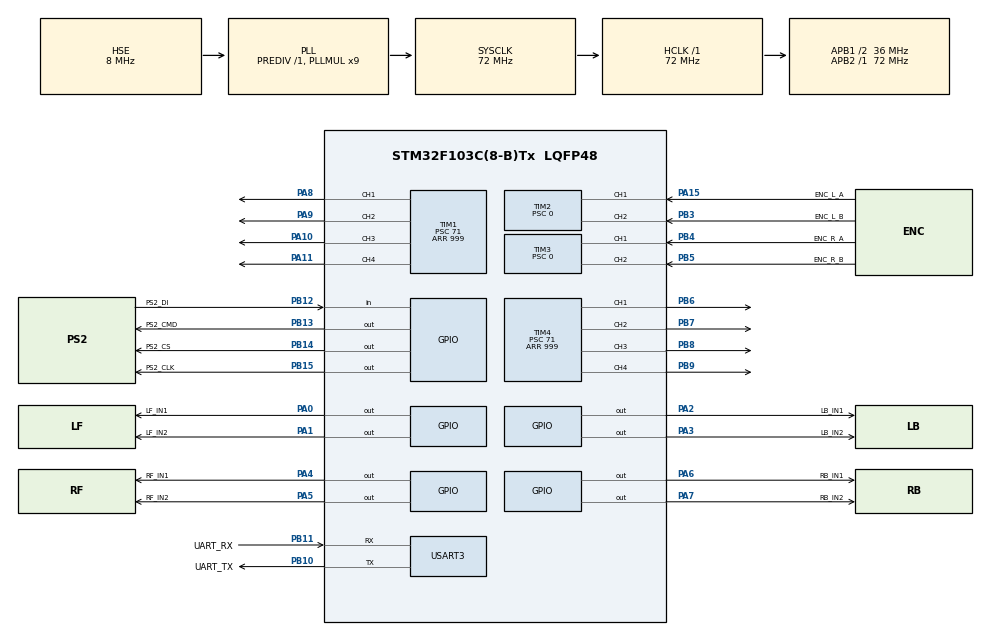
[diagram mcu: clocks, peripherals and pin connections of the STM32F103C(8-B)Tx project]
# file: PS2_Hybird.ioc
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Mcu.Family=STM32F1
Mcu.Name=STM32F103C(8-B)Tx
Mcu.Package=LQFP48
NVIC.PriorityGroup=NVIC_PRIORITYGROUP_4
NVIC.USART3_IRQn=true\:0\:0\:false\:false\:true\:true\:true\:true
PA0-WKUP.GPIO_Label=LF_IN1
PA0-WKUP.GPIO_Speed=GPIO_SPEED_FREQ_LOW
PA0-WKUP.Signal=GPIO_Output
PA1.GPIO_Label=LF_IN2
PA1.GPIO_Speed=GPIO_SPEED_FREQ_LOW
PA1.Signal=GPIO_Output
PA10.GPIO_ModeDefaultPP=GPIO_MODE_AF_PP
PA10.GPIO_Speed=GPIO_SPEED_FREQ_LOW
PA10.Signal=S_TIM1_CH3
PA11.GPIO_ModeDefaultPP=GPIO_MODE_AF_PP
PA11.GPIO_Speed=GPIO_SPEED_FREQ_LOW
PA11.Signal=S_TIM1_CH4
PA13.Mode=Serial_Wire
PA13.Signal=SYS_JTMS-SWDIO
PA14.Mode=Serial_Wire
PA14.Signal=SYS_JTCK-SWCLK
PA15.GPIO_Label=ENC_L_A
PA15.GPIO_PuPd=GPIO_PULLUP
PA15.Signal=S_TIM2_CH1_ETR
PA2.GPIO_Label=LB_IN1
PA2.Signal=GPIO_Output
PA3.GPIO_Label=LB_IN2
PA3.Signal=GPIO_Output
PA4.GPIO_Label=RF_IN1
PA4.Signal=GPIO_Output
PA5.GPIO_Label=RF_IN2
PA5.Signal=GPIO_Output
PA6.GPIO_Label=RB_IN1
PA6.Signal=GPIO_Output
PA7.GPIO_Label=RB_IN2
PA7.Signal=GPIO_Output
PA8.GPIO_ModeDefaultPP=GPIO_MODE_AF_PP
PA8.GPIO_Speed=GPIO_SPEED_FREQ_LOW
PA8.Signal=S_TIM1_CH1
PA9.GPIO_ModeDefaultPP=GPIO_MODE_AF_PP
PA9.GPIO_Speed=GPIO_SPEED_FREQ_LOW
PA9.Signal=S_TIM1_CH2
PB10.GPIO_Label=UART_TX
PB10.Mode=Asynchronous
PB10.Signal=USART3_TX
PB11.GPIO_Label=UART_RX
PB11.Mode=Asynchronous
PB11.Signal=USART3_RX
PB12.GPIO_Label=PS2_DI
PB12.GPIO_PuPd=GPIO_NOPULL
PB12.Signal=GPIO_Input
PB13.GPIO_Label=PS2_CMD
PB13.GPIO_Speed=GPIO_SPEED_FREQ_HIGH
PB13.PinState=GPIO_PIN_SET
PB13.Signal=GPIO_Output
PB14.GPIO_Label=PS2_CS
PB14.GPIO_Speed=GPIO_SPEED_FREQ_HIGH
PB14.PinState=GPIO_PIN_SET
PB14.Signal=GPIO_Output
PB15.GPIO_Label=PS2_CLK
PB15.GPIO_Speed=GPIO_SPEED_FREQ_HIGH
PB15.PinState=GPIO_PIN_SET
PB15.Signal=GPIO_Output
PB3.GPIO_Label=ENC_L_B
PB3.GPIO_PuPd=GPIO_PULLUP
PB3.Signal=S_TIM2_CH2
PB4.GPIO_Label=ENC_R_A
PB4.GPIO_PuPd=GPIO_PULLUP
PB4.Signal=S_TIM3_CH1
PB5.GPIO_Label=ENC_R_B
PB5.GPIO_PuPd=GPIO_PULLUP
PB5.Signal=S_TIM3_CH2
PB6.GPIO_ModeDefaultPP=GPIO_MODE_AF_PP
PB6.Signal=S_TIM4_CH1
PB7.GPIO_Speed=GPIO_SPEED_FREQ_LOW
PB7.Signal=S_TIM4_CH2
PB8.GPIO_Speed=GPIO_SPEED_FREQ_LOW
PB8.Signal=S_TIM4_CH3
PB9.GPIO_Speed=GPIO_SPEED_FREQ_LOW
PB9.Signal=S_TIM4_CH4
PD0-OSC_IN.Mode=HSE-External-Oscillator
PD0-OSC_IN.Signal=RCC_OSC_IN
PD1-OSC_OUT.Mode=HSE-External-Oscillator
PD1-OSC_OUT.Signal=RCC_OSC_OUT
ProjectManager.HeapSize=0x200
ProjectManager.StackSize=0x400
ProjectManager.TargetToolchain=MDK-ARM V5.32
RCC.AHBFreq_Value=72000000
RCC.APB1CLKDivider=RCC_HCLK_DIV2
RCC.APB1Freq_Value=36000000
RCC.APB1TimFreq_Value=72000000
RCC.APB2Freq_Value=72000000
RCC.APB2TimFreq_Value=72000000
RCC.HCLKFreq_Value=72000000
RCC.PLLMUL=RCC_PLL_MUL9
RCC.PLLSourceVirtual=RCC_PLLSOURCE_HSE
RCC.SYSCLKFreq_VALUE=72000000
RCC.SYSCLKSource=RCC_SYSCLKSOURCE_PLLCLK
RCC.USBFreq_Value=72000000
SH.S_TIM1_CH1.0=TIM1_CH1,PWM Generation1 CH1
SH.S_TIM1_CH2.0=TIM1_CH2,PWM Generation2 CH2
SH.S_TIM1_CH3.0=TIM1_CH3,PWM Generation3 CH3
SH.S_TIM1_CH4.0=TIM1_CH4,PWM Generation4 CH4
SH.S_TIM2_CH1_ETR.0=TIM2_CH1,Encoder_Interface
SH.S_TIM2_CH2.0=TIM2_CH2,Encoder_Interface
SH.S_TIM3_CH1.0=TIM3_CH1,Encoder_Interface
SH.S_TIM3_CH2.0=TIM3_CH2,Encoder_Interface
SH.S_TIM4_CH1.0=TIM4_CH1,PWM Generation1 CH1
SH.S_TIM4_CH2.0=TIM4_CH2,PWM Generation2 CH2
SH.S_TIM4_CH3.0=TIM4_CH3,PWM Generation3 CH3
SH.S_TIM4_CH4.0=TIM4_CH4,PWM Generation4 CH4
TIM1.AutoReloadPreload=TIM_AUTORELOAD_PRELOAD_ENABLE
TIM1.Channel-PWM\ Generation1\ CH1=TIM_CHANNEL_1
TIM1.Channel-PWM\ Generation2\ CH2=TIM_CHANNEL_2
TIM1.Channel-PWM\ Generation3\ CH3=TIM_CHANNEL_3
TIM1.Channel-PWM\ Generation4\ CH4=TIM_CHANNEL_4
TIM1.Period=999
TIM1.Prescaler=71
TIM2.AutoReloadPreload=TIM_AUTORELOAD_PRELOAD_ENABLE
TIM2.EncoderMode=TIM_ENCODERMODE_TI12
TIM2.IC1Filter=6
TIM2.IC2Filter=0
TIM2.Period=65535
TIM2.Prescaler=0
TIM3.AutoReloadPreload=TIM_AUTORELOAD_PRELOAD_ENABLE
TIM3.EncoderMode=TIM_ENCODERMODE_TI12
TIM3.IC1Filter=6
TIM3.Period=65535
TIM3.Prescaler=0
TIM4.AutoReloadPreload=TIM_AUTORELOAD_PRELOAD_ENABLE
TIM4.Channel-PWM\ Generation1\ CH1=TIM_CHANNEL_1
TIM4.Channel-PWM\ Generation2\ CH2=TIM_CHANNEL_2
TIM4.Channel-PWM\ Generation3\ CH3=TIM_CHANNEL_3
TIM4.Channel-PWM\ Generation4\ CH4=TIM_CHANNEL_4
TIM4.Period=999
TIM4.Prescaler=71
USART3.VirtualMode=VM_ASYNC
VP_TIM1_VS_ClockSourceINT.Mode=Internal
VP_TIM4_VS_ClockSourceINT.Mode=Internal
board=custom

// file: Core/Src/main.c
/* USER CODE BEGIN Header */
/**
  ******************************************************************************
  * @file           : main.c
  * @brief          : Main program body
  ******************************************************************************
  * @attention
  *
  * Copyright (c) 2025 STMicroelectronics.
  * All rights reserved.
  *
  * This software is licensed under terms that can be found in the LICENSE file
  * in the root directory of this software component.
  * If no LICENSE file comes with this software, it is provided AS-IS.
  *
  ******************************************************************************
  */
/* USER CODE END Header */
#include "main.h"
#include "tim.h"
#include "usart.h"
#include "gpio.h"

/* USER CODE BEGIN Includes */
#include "ax_ps2.h"
#include "motor_control.h"
#include "servo_control.h"
#include <stdio.h>
/* USER CODE END Includes */

/* USER CODE BEGIN PV */
JOYSTICK_TypeDef ps2_data;  // PS2手柄数据

int16_t left_motor_target = 0;
int16_t right_motor_target = 0;
int16_t left_pwm_filtered = 0;
int16_t right_pwm_filtered = 0;

// 控制模式：0=PS2手柄模式, 1=上位机控制模式
uint8_t control_mode = 0;

// 序列控制状态（上位机模式用：先前进指定距离，再左右转）
typedef enum { SEQ_NONE = 0, SEQ_MOVE_THEN_TURN = 1 } SeqType;
typedef struct {
    SeqType type;
    uint8_t active;
    uint32_t target_mm;
    int16_t move_speed;
    char turn_dir; // 'L' or 'R'
    uint32_t turn_ms;
    int16_t turn_speed;
    uint8_t phase; // 0=idle,1=moving,2=turning
    uint32_t phase_start_time;
} SeqState;
static SeqState g_seq_state = {SEQ_NONE, 0, 0, 0, 0, 0, 0, 0, 0};

void Start_MoveThenTurn(uint32_t mm, int16_t move_speed, char dir, uint32_t turn_ms, int16_t turn_speed)
{
    if(mm == 0) mm = 1;
    if(move_speed < MIN_PWM) move_speed = MIN_PWM;
    if(move_speed > MAX_PWM) move_speed = MAX_PWM;
    if(turn_speed < MIN_PWM) turn_speed = MIN_PWM;
    if(turn_speed > MAX_PWM) turn_speed = MAX_PWM;

    g_seq_state.type = SEQ_MOVE_THEN_TURN;
    g_seq_state.active = 1;
    g_seq_state.target_mm = mm;
    g_seq_state.move_speed = move_speed;
    g_seq_state.turn_dir = dir;
    g_seq_state.turn_ms = turn_ms;
    g_seq_state.turn_speed = turn_speed;
    g_seq_state.phase = 1; // start moving
    g_seq_state.phase_start_time = HAL_GetTick();

    Odometer_Reset();
    Car_Forward(g_seq_state.move_speed);
    printf("OK: Sequence started (F %lumm @%d then %c %lums @%d)\r\n",
           (unsigned long)g_seq_state.target_mm, g_seq_state.move_speed,
           g_seq_state.turn_dir, (unsigned long)g_seq_state.turn_ms, g_seq_state.turn_speed);
}

/* USER CODE END PV */

void SystemClock_Config(void);

int main(void)
{

  /* MCU Configuration--------------------------------------------------------*/

  /* Reset of all peripherals, Initializes the Flash interface and the Systick. */
  HAL_Init();

  /* Configure the system clock */
  SystemClock_Config();

  /* Initialize all configured peripherals */
  MX_GPIO_Init();
  MX_TIM1_Init();
  MX_TIM2_Init();
  MX_TIM3_Init();
  MX_USART3_UART_Init();
  MX_TIM4_Init();
  /* USER CODE BEGIN 2 */
	// 延时等待系统稳定
	HAL_Delay(100);

	// 初始化PS2手柄
	AX_PS2_Init();

	// 再延时等待PS2接收器就绪
	HAL_Delay(200);

	// 测试PS2通信
	printf("[INIT] Testing PS2 connection...\r\n");
	for(int i = 0; i < 5; i++)
	{
		AX_PS2_ScanKey(&ps2_data);
		printf("[INIT] PS2 Test %d: Mode=0x%02X\r\n", i+1, ps2_data.mode);
		if(ps2_data.mode == 0x73 || ps2_data.mode == 0x41)
		{
			printf("[INIT] PS2 Connected OK!\r\n");
			break;
		}
		HAL_Delay(100);
	}
	if(ps2_data.mode != 0x73 && ps2_data.mode != 0x41)
	{
		printf("[INIT] WARNING: PS2 not detected! Check pairing.\r\n");
	}

	// 初始化电机
	Motor_Init();

	// 初始化舵机
	Servo_Init();

	// 启动串口中断接收
	UART_IT_Enable();

	// 要测试电机，取消下面的注释
	// Motor_Test_Individual();  // 这将测试每个电机的正反转

  /* USER CODE END 2 */

  /* Infinite loop */
  /* USER CODE BEGIN WHILE */
	uint32_t last_print_time = 0;
	uint32_t last_control_time = 0;
	uint32_t last_speed_update_time = 0;   // 速度更新计时器
	uint32_t last_odometer_print_time = 0; // 里程显示计时器

  while (1)
  {
		uint32_t current_time = HAL_GetTick();

		// 每100ms更新一次速度测量
		if(current_time - last_speed_update_time >= 100)
		{
			last_speed_update_time = current_time;
			Speed_Update();
		}

		// 每1000ms打印一次里程和速度信息
		if(current_time - last_odometer_print_time >= 1000)
		{
			last_odometer_print_time = current_time;

			float left_dist = Odometer_GetLeftDistance();
			float right_dist = Odometer_GetRightDistance();
			float total_dist = Odometer_GetTotalDistance();
			float left_speed = Speed_GetLeft();
			float right_speed = Speed_GetRight();

			printf("[Odometer] L:%.1fmm R:%.1fmm Total:%.1fmm | Speed L:%.1fmm/s R:%.1fmm/s\r\n",
				   left_dist, right_dist, total_dist, left_speed, right_speed);
		}

		// 根据控制模式执行不同的控制逻辑
		// PS2 MODE键边沿检测与防抖（两种模式下都执行）
		// 注释掉自动模式切换，避免误触发
		/*
		static uint8_t last_ps2_mode_byte = 0;
		static uint32_t last_mode_toggle_time = 0;
		static uint32_t last_mode_scan_time = 0;
		if(current_time - last_mode_scan_time >= 20)
		{
			last_mode_scan_time = current_time;
			AX_PS2_ScanKey(&ps2_data);
			uint8_t controller_ok = (ps2_data.mode == 0x73 || ps2_data.mode == 0x41);
			if(controller_ok)
			{
				if(last_ps2_mode_byte == 0)
				{
					last_ps2_mode_byte = ps2_data.mode;
				}
				else if(ps2_data.mode != last_ps2_mode_byte && (current_time - last_mode_toggle_time) >= 300)
				{
					last_ps2_mode_byte = ps2_data.mode;
					last_mode_toggle_time = current_time;
					control_mode ^= 1; // 0<->1 切换
					printf("OK: Mode toggled to %d (%s) by PS2 MODE key\r\n", control_mode, control_mode == 0 ? "PS2" : "UART");
				}
			}
		}
		*/
		if(control_mode == 0)  // PS2手柄模式
		{
			// 每20ms读取一次PS2手柄数据
			if(current_time - last_control_time >= 20)
			{
				last_control_time = current_time;

				// 读取PS2手柄数据
				AX_PS2_ScanKey(&ps2_data);

				// 检查手柄是否连接正常
				if(ps2_data.mode == 0x73 || ps2_data.mode == 0x41)
				{
					// 使用左摇杆和按键控制小车
					// btn1: Bit1=JOYR, Bit2=JOYL, Bit4=UP, Bit5=RIGHT, Bit6=DOWN, Bit7=LEFT
					PS2_Control_Car(ps2_data.LJoy_LR, ps2_data.LJoy_UD, ps2_data.btn1);

					// 使用上下左右键和图形键控制舵机
					// btn1: 方向键, btn2: 图形键(△○×□)
					PS2_Control_Servo(ps2_data.btn1, ps2_data.btn2);

					// 每500ms打印一次手柄数据（可选）
					if(current_time - last_print_time >= 500)
					{
						last_print_time = current_time;
						printf("[PS2] LJ(%3d,%3d) Mode:0x%02X\r\n",
							   ps2_data.LJoy_LR, ps2_data.LJoy_UD, ps2_data.mode);
					}
				}
				else
				{
					// 手柄未连接，停止小车
					Car_Stop();

					if(current_time - last_print_time >= 2000)
					{
						last_print_time = current_time;
						// 增强调试信息：显示所有按键状态
						printf("[PS2] No controller (Mode:0x%02X btn1:0x%02X btn2:0x%02X LJ:%d,%d RJ:%d,%d)\r\n",
							   ps2_data.mode, ps2_data.btn1, ps2_data.btn2,
							   ps2_data.LJoy_LR, ps2_data.LJoy_UD,
							   ps2_data.RJoy_LR, ps2_data.RJoy_UD);
					}
				}
			}
		}
		// 如果是上位机模式，处理上位机触发的序列动作（前进距离后转向）
if(control_mode == 1 && g_seq_state.active)
{
    if(g_seq_state.phase == 1)
    {
        // 前进阶段：达到目标距离则进入转向阶段
        float total_dist = Odometer_GetTotalDistance();
        if(total_dist >= (float)g_seq_state.target_mm)
        {
            Car_Stop();
            g_seq_state.phase = 2;
            g_seq_state.phase_start_time = HAL_GetTick();

            if(g_seq_state.turn_dir == 'L') Car_TurnLeft(g_seq_state.turn_speed);
            else Car_TurnRight(g_seq_state.turn_speed);

            printf("OK: Distance reached %.1fmm, start turning %c\r\n",
                   total_dist, g_seq_state.turn_dir);
        }
    }
    else if(g_seq_state.phase == 2)
    {
        // 转向阶段：到达设定时间停止
        uint32_t elapsed = HAL_GetTick() - g_seq_state.phase_start_time;
        if(elapsed >= g_seq_state.turn_ms)
        {
            Car_Stop();
            g_seq_state.active = 0;
            g_seq_state.type = SEQ_NONE;
            g_seq_state.phase = 0;
            printf("OK: Sequence completed\r\n");
        }
    }
}

    /* USER CODE END WHILE */

  }
}

void SystemClock_Config(void)
{
  RCC_OscInitTypeDef RCC_OscInitStruct = {0};
  RCC_ClkInitTypeDef RCC_ClkInitStruct = {0};

  /** Initializes the RCC Oscillators according to the specified parameters
  * in the RCC_OscInitTypeDef structure.
  */
  RCC_OscInitStruct.OscillatorType = RCC_OSCILLATORTYPE_HSE;
  RCC_OscInitStruct.HSEState = RCC_HSE_ON;
  RCC_OscInitStruct.HSEPredivValue = RCC_HSE_PREDIV_DIV1;
  RCC_OscInitStruct.HSIState = RCC_HSI_ON;
  RCC_OscInitStruct.PLL.PLLState = RCC_PLL_ON;
  RCC_OscInitStruct.PLL.PLLSource = RCC_PLLSOURCE_HSE;
  RCC_OscInitStruct.PLL.PLLMUL = RCC_PLL_MUL9;
  if (HAL_RCC_OscConfig(&RCC_OscInitStruct) != HAL_OK)
  {
    Error_Handler();
  }

  /** Initializes the CPU, AHB and APB buses clocks
  */
  RCC_ClkInitStruct.ClockType = RCC_CLOCKTYPE_HCLK|RCC_CLOCKTYPE_SYSCLK
                              |RCC_CLOCKTYPE_PCLK1|RCC_CLOCKTYPE_PCLK2;
  RCC_ClkInitStruct.SYSCLKSource = RCC_SYSCLKSOURCE_PLLCLK;
  RCC_ClkInitStruct.AHBCLKDivider = RCC_SYSCLK_DIV1;
  RCC_ClkInitStruct.APB1CLKDivider = RCC_HCLK_DIV2;
  RCC_ClkInitStruct.APB2CLKDivider = RCC_HCLK_DIV1;

  if (HAL_RCC_ClockConfig(&RCC_ClkInitStruct, FLASH_LATENCY_2) != HAL_OK)
  {
    Error_Handler();
  }
}

void Error_Handler(void)
{
  __disable_irq();
  while (1)
  {
  }
}
